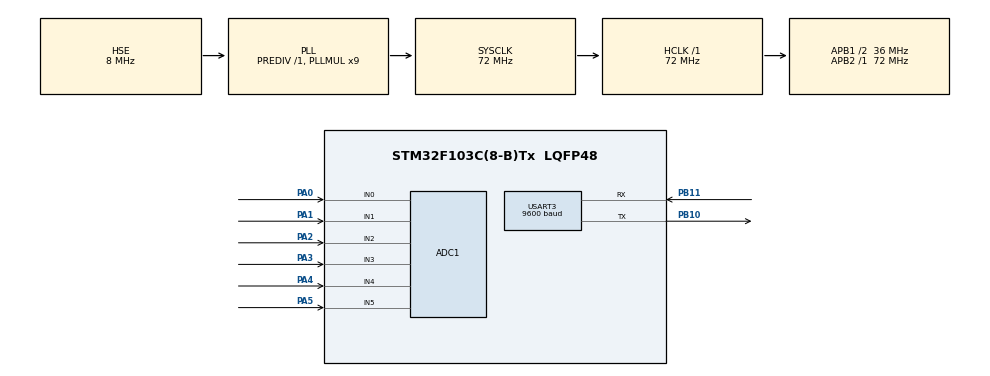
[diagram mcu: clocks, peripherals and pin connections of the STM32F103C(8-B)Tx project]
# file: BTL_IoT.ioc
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ADC1.Channel-0\#ChannelRegularConversion=ADC_CHANNEL_0
ADC1.Channel-1\#ChannelRegularConversion=ADC_CHANNEL_1
ADC1.Channel-2\#ChannelRegularConversion=ADC_CHANNEL_2
ADC1.Channel-3\#ChannelRegularConversion=ADC_CHANNEL_3
ADC1.Channel-4\#ChannelRegularConversion=ADC_CHANNEL_4
ADC1.Channel-5\#ChannelRegularConversion=ADC_CHANNEL_5
ADC1.ContinuousConvMode=ENABLE
ADC1.NbrOfConversion=6
ADC1.NbrOfConversionFlag=1
ADC1.Rank-0\#ChannelRegularConversion=1
ADC1.Rank-1\#ChannelRegularConversion=2
ADC1.Rank-2\#ChannelRegularConversion=3
ADC1.Rank-3\#ChannelRegularConversion=4
ADC1.Rank-4\#ChannelRegularConversion=5
ADC1.Rank-5\#ChannelRegularConversion=6
ADC1.SamplingTime-0\#ChannelRegularConversion=ADC_SAMPLETIME_239CYCLES_5
ADC1.SamplingTime-1\#ChannelRegularConversion=ADC_SAMPLETIME_239CYCLES_5
ADC1.SamplingTime-2\#ChannelRegularConversion=ADC_SAMPLETIME_239CYCLES_5
ADC1.SamplingTime-3\#ChannelRegularConversion=ADC_SAMPLETIME_239CYCLES_5
ADC1.SamplingTime-4\#ChannelRegularConversion=ADC_SAMPLETIME_239CYCLES_5
ADC1.SamplingTime-5\#ChannelRegularConversion=ADC_SAMPLETIME_239CYCLES_5
ADC1.master=1
Dma.ADC1.0.Direction=DMA_PERIPH_TO_MEMORY
Dma.ADC1.0.Instance=DMA1_Channel1
Dma.ADC1.0.MemDataAlignment=DMA_MDATAALIGN_WORD
Dma.ADC1.0.MemInc=DMA_MINC_ENABLE
Dma.ADC1.0.Mode=DMA_CIRCULAR
Dma.ADC1.0.PeriphDataAlignment=DMA_PDATAALIGN_WORD
Dma.ADC1.0.PeriphInc=DMA_PINC_DISABLE
Dma.ADC1.0.Priority=DMA_PRIORITY_LOW
Dma.Request0=ADC1
Mcu.Family=STM32F1
Mcu.Name=STM32F103C(8-B)Tx
Mcu.Package=LQFP48
NVIC.ADC1_2_IRQn=true\:1\:0\:true\:false\:true\:true\:true\:true
NVIC.DMA1_Channel1_IRQn=true\:0\:0\:false\:false\:true\:false\:true\:true
NVIC.PriorityGroup=NVIC_PRIORITYGROUP_4
PA0-WKUP.Signal=ADCx_IN0
PA1.Signal=ADCx_IN1
PA13.Mode=Serial_Wire
PA13.Signal=SYS_JTMS-SWDIO
PA14.Mode=Serial_Wire
PA14.Signal=SYS_JTCK-SWCLK
PA2.Signal=ADCx_IN2
PA3.Signal=ADCx_IN3
PA4.Signal=ADCx_IN4
PA5.Signal=ADCx_IN5
PB10.Mode=Asynchronous
PB10.Signal=USART3_TX
PB11.Mode=Asynchronous
PB11.Signal=USART3_RX
PD0-OSC_IN.Mode=HSE-External-Oscillator
PD0-OSC_IN.Signal=RCC_OSC_IN
PD1-OSC_OUT.Mode=HSE-External-Oscillator
PD1-OSC_OUT.Signal=RCC_OSC_OUT
ProjectManager.HeapSize=0x200
ProjectManager.StackSize=0x400
ProjectManager.TargetToolchain=STM32CubeIDE
RCC.ADCPresc=RCC_ADCPCLK2_DIV6
RCC.AHBFreq_Value=72000000
RCC.APB1CLKDivider=RCC_HCLK_DIV2
RCC.APB1Freq_Value=36000000
RCC.APB1TimFreq_Value=72000000
RCC.APB2Freq_Value=72000000
RCC.APB2TimFreq_Value=72000000
RCC.HCLKFreq_Value=72000000
RCC.PLLMUL=RCC_PLL_MUL9
RCC.PLLSourceVirtual=RCC_PLLSOURCE_HSE
RCC.SYSCLKFreq_VALUE=72000000
RCC.SYSCLKSource=RCC_SYSCLKSOURCE_PLLCLK
RCC.USBFreq_Value=72000000
SH.ADCx_IN0.0=ADC1_IN0,IN0
SH.ADCx_IN1.0=ADC1_IN1,IN1
SH.ADCx_IN2.0=ADC1_IN2,IN2
SH.ADCx_IN3.0=ADC1_IN3,IN3
SH.ADCx_IN4.0=ADC1_IN4,IN4
SH.ADCx_IN5.0=ADC1_IN5,IN5
USART3.BaudRate=9600
USART3.VirtualMode=VM_ASYNC
board=custom

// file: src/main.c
/* USER CODE BEGIN Header */
/**
  ******************************************************************************
  * @file           : main.c
  * @brief          : Main program body
  ******************************************************************************
  * @attention
  *
  * Copyright (c) 2023 STMicroelectronics.
  * All rights reserved.
  *
  * This software is licensed under terms that can be found in the LICENSE file
  * in the root directory of this software component.
  * If no LICENSE file comes with this software, it is provided AS-IS.
  *
  ******************************************************************************
  */
/* USER CODE END Header */
#include "main.h"

/* USER CODE BEGIN Includes */
#include <servo.h>
#include <stdio.h>
#include <string.h>
/* USER CODE END Includes */

/* USER CODE BEGIN PTD */
#define SERVO_Motor_H  0
#define SERVO_Motor_V  1
/* USER CODE END PTD */

ADC_HandleTypeDef hadc1;
DMA_HandleTypeDef hdma_adc1;

UART_HandleTypeDef huart3;

void SystemClock_Config(void);
static void MX_GPIO_Init(void);
static void MX_DMA_Init(void);
static void MX_ADC1_Init(void);
static void MX_USART3_UART_Init(void);

/* USER CODE BEGIN 0 */
uint32_t value[6];
uint32_t value_mid, value_up, value_down, value_left, value_right;
float voltage;
uint8_t dienap[43];
uint8_t convComnpleted = 0;
// Motor H
uint8_t MotorH = 100;
uint8_t MotorH_Max = 160;
uint8_t MotorH_Min = 40;
// Motor V
uint8_t MotorV = 60;
uint8_t MotorV_Max = 120;
uint8_t MotorV_Min = 20;
void Control_H(uint8_t Angle);
void Control_V(uint8_t Angle);

void HAL_ADC_ConvCpltCallback(ADC_HandleTypeDef* hadc){
	convComnpleted = 1;
}
/* USER CODE END 0 */

int main(void)
{

  /* MCU Configuration--------------------------------------------------------*/

  /* Reset of all peripherals, Initializes the Flash interface and the Systick. */
  HAL_Init();

  /* Configure the system clock */
  SystemClock_Config();

  /* Initialize all configured peripherals */
  MX_GPIO_Init();
  MX_DMA_Init();
  MX_ADC1_Init();
  MX_USART3_UART_Init();
  /* USER CODE BEGIN 2 */
  HAL_ADCEx_Calibration_Start(&hadc1);

  SERVO_Init(SERVO_Motor_V);
  SERVO_Init(SERVO_Motor_H);
  Control_H(100);
  Control_V(60);

  /* USER CODE END 2 */

  /* Infinite loop */
  while (1)
  {

    /* USER CODE BEGIN 3 */
	  HAL_ADC_Start_DMA(&hadc1, value, 6);
	  value_mid = value[4];
	  //
	  if (value_mid > 2000){
		  value_up = value[0];
		  value_down = value[1];
		  value_left = value[2];
		  value_right = value[3];
		  if (value_up > value_down){
			  MotorV = --(MotorV);
//			  HAL_Delay(100);
			  if (MotorV < MotorV_Min){
				  MotorV = MotorV_Min;
			  }
		  }
		  else if(value_up < value_down){
			  MotorV = ++ MotorV;
//			  HAL_Delay(100);
			  if(MotorV > MotorV_Max){
				  MotorV = MotorV_Max;
			  }
		  }
		  Control_V(MotorV);
			  if (value_left > value_right){
				  MotorH = MotorH-1;
//				  HAL_Delay(50);
				  if (MotorH < MotorH_Min){
					  MotorH = MotorH_Min;
				  }
			  }
			  else if(value_left < value_right){
				  MotorH = MotorH+1;
//				  HAL_Delay(50);
				  if(MotorH > MotorH_Max){
					  MotorH = MotorH_Max;
				  }
			  }
			  Control_H(MotorH);
	  }
	  else{
		  Control_H(MotorH);
		  Control_V(MotorV);
	  }
	  voltage = ((float)value[5] *4)/4095;
	  sprintf((char*)dienap, "Dien ap thu duoc tu pin mat troi la:%.2fV\n\r", voltage);
      HAL_UART_Transmit(&huart3,(uint8_t*)dienap, sizeof(dienap),100);
	  HAL_Delay(50);
  }
  /* USER CODE END 3 */
}

void SystemClock_Config(void)
{
  RCC_OscInitTypeDef RCC_OscInitStruct = {0};
  RCC_ClkInitTypeDef RCC_ClkInitStruct = {0};
  RCC_PeriphCLKInitTypeDef PeriphClkInit = {0};

  /** Initializes the RCC Oscillators according to the specified parameters
  * in the RCC_OscInitTypeDef structure.
  */
  RCC_OscInitStruct.OscillatorType = RCC_OSCILLATORTYPE_HSE;
  RCC_OscInitStruct.HSEState = RCC_HSE_ON;
  RCC_OscInitStruct.HSEPredivValue = RCC_HSE_PREDIV_DIV1;
  RCC_OscInitStruct.HSIState = RCC_HSI_ON;
  RCC_OscInitStruct.PLL.PLLState = RCC_PLL_ON;
  RCC_OscInitStruct.PLL.PLLSource = RCC_PLLSOURCE_HSE;
  RCC_OscInitStruct.PLL.PLLMUL = RCC_PLL_MUL9;
  if (HAL_RCC_OscConfig(&RCC_OscInitStruct) != HAL_OK)
  {
    Error_Handler();
  }

  /** Initializes the CPU, AHB and APB buses clocks
  */
  RCC_ClkInitStruct.ClockType = RCC_CLOCKTYPE_HCLK|RCC_CLOCKTYPE_SYSCLK
                              |RCC_CLOCKTYPE_PCLK1|RCC_CLOCKTYPE_PCLK2;
  RCC_ClkInitStruct.SYSCLKSource = RCC_SYSCLKSOURCE_PLLCLK;
  RCC_ClkInitStruct.AHBCLKDivider = RCC_SYSCLK_DIV1;
  RCC_ClkInitStruct.APB1CLKDivider = RCC_HCLK_DIV2;
  RCC_ClkInitStruct.APB2CLKDivider = RCC_HCLK_DIV1;

  if (HAL_RCC_ClockConfig(&RCC_ClkInitStruct, FLASH_LATENCY_2) != HAL_OK)
  {
    Error_Handler();
  }
  PeriphClkInit.PeriphClockSelection = RCC_PERIPHCLK_ADC;
  PeriphClkInit.AdcClockSelection = RCC_ADCPCLK2_DIV6;
  if (HAL_RCCEx_PeriphCLKConfig(&PeriphClkInit) != HAL_OK)
  {
    Error_Handler();
  }
}

static void MX_ADC1_Init(void)
{

  ADC_ChannelConfTypeDef sConfig = {0};

  /** Common config
  */
  hadc1.Instance = ADC1;
  hadc1.Init.ScanConvMode = ADC_SCAN_ENABLE;
  hadc1.Init.ContinuousConvMode = ENABLE;
  hadc1.Init.DiscontinuousConvMode = DISABLE;
  hadc1.Init.ExternalTrigConv = ADC_SOFTWARE_START;
  hadc1.Init.DataAlign = ADC_DATAALIGN_RIGHT;
  hadc1.Init.NbrOfConversion = 6;
  if (HAL_ADC_Init(&hadc1) != HAL_OK)
  {
    Error_Handler();
  }

  /** Configure Regular Channel
  */
  sConfig.Channel = ADC_CHANNEL_0;
  sConfig.Rank = ADC_REGULAR_RANK_1;
  sConfig.SamplingTime = ADC_SAMPLETIME_239CYCLES_5;
  if (HAL_ADC_ConfigChannel(&hadc1, &sConfig) != HAL_OK)
  {
    Error_Handler();
  }

  /** Configure Regular Channel
  */
  sConfig.Channel = ADC_CHANNEL_1;
  sConfig.Rank = ADC_REGULAR_RANK_2;
  if (HAL_ADC_ConfigChannel(&hadc1, &sConfig) != HAL_OK)
  {
    Error_Handler();
  }

  /** Configure Regular Channel
  */
  sConfig.Channel = ADC_CHANNEL_2;
  sConfig.Rank = ADC_REGULAR_RANK_3;
  if (HAL_ADC_ConfigChannel(&hadc1, &sConfig) != HAL_OK)
  {
    Error_Handler();
  }

  /** Configure Regular Channel
  */
  sConfig.Channel = ADC_CHANNEL_3;
  sConfig.Rank = ADC_REGULAR_RANK_4;
  if (HAL_ADC_ConfigChannel(&hadc1, &sConfig) != HAL_OK)
  {
    Error_Handler();
  }

  /** Configure Regular Channel
  */
  sConfig.Channel = ADC_CHANNEL_4;
  sConfig.Rank = ADC_REGULAR_RANK_5;
  if (HAL_ADC_ConfigChannel(&hadc1, &sConfig) != HAL_OK)
  {
    Error_Handler();
  }

  /** Configure Regular Channel
  */
  sConfig.Channel = ADC_CHANNEL_5;
  sConfig.Rank = ADC_REGULAR_RANK_6;
  if (HAL_ADC_ConfigChannel(&hadc1, &sConfig) != HAL_OK)
  {
    Error_Handler();
  }

}

static void MX_USART3_UART_Init(void)
{

  huart3.Instance = USART3;
  huart3.Init.BaudRate = 9600;
  huart3.Init.WordLength = UART_WORDLENGTH_8B;
  huart3.Init.StopBits = UART_STOPBITS_1;
  huart3.Init.Parity = UART_PARITY_NONE;
  huart3.Init.Mode = UART_MODE_TX_RX;
  huart3.Init.HwFlowCtl = UART_HWCONTROL_NONE;
  huart3.Init.OverSampling = UART_OVERSAMPLING_16;
  if (HAL_UART_Init(&huart3) != HAL_OK)
  {
    Error_Handler();
  }

}

static void MX_DMA_Init(void)
{

  /* DMA controller clock enable */
  __HAL_RCC_DMA1_CLK_ENABLE();

  /* DMA interrupt init */
  /* DMA1_Channel1_IRQn interrupt configuration */
  HAL_NVIC_SetPriority(DMA1_Channel1_IRQn, 0, 0);
  HAL_NVIC_EnableIRQ(DMA1_Channel1_IRQn);

}

static void MX_GPIO_Init(void)
{

  /* GPIO Ports Clock Enable */
  __HAL_RCC_GPIOD_CLK_ENABLE();
  __HAL_RCC_GPIOA_CLK_ENABLE();
  __HAL_RCC_GPIOB_CLK_ENABLE();

}

/* USER CODE BEGIN 4 */
void Control_H(uint8_t Angle){
	SERVO_MoveTo(SERVO_Motor_H, Angle);
}
void Control_V(uint8_t Angle){
	SERVO_MoveTo(SERVO_Motor_V, Angle);
}

/* USER CODE END 4 */

void Error_Handler(void)
{
  __disable_irq();
  while (1)
  {
  }
}
